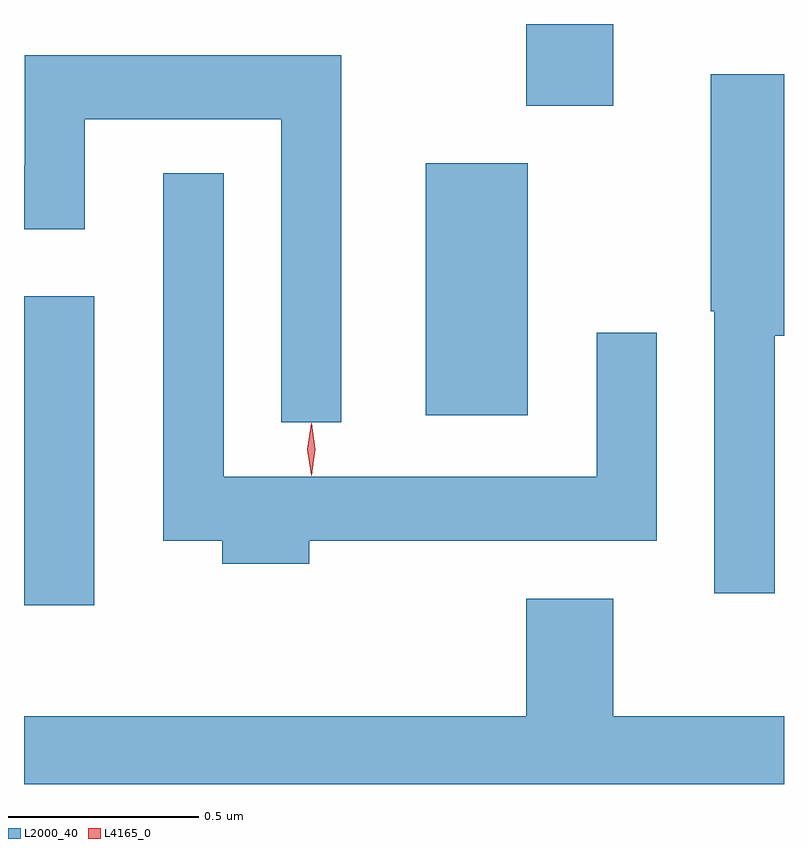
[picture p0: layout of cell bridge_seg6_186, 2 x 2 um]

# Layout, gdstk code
import gdstk
lib = gdstk.Library(unit=1e-6, precision=1e-09)
def R(c, l, rs):  # rectangles x0, y0, x1, y1
    for r in rs: c.add(gdstk.rectangle(r[:2], r[2:], *l))
def P(c, l, *ps):  # polygons
    for p in ps: c.add(gdstk.Polygon(p, *l))
L2000_40 = (2000, 40)
L4165_0 = (4165, 0)

bridge_seg6_186 = lib.new_cell('bridge_seg6_186')
R(bridge_seg6_186, L2000_40, [(1050.769,1579.456,1050.954,1580.269), (1051.826,1579.956,1052.094,1580.619), (1052.091,1580.771,1052.319,1580.986)])
P(bridge_seg6_186, L2000_40, [(1051.604,1580.904),(1050.771,1580.904),(1050.771,1580.614),(1050.769,1580.614),(1050.769,1580.446),(1050.929,1580.446),(1050.929,1580.736),(1051.446,1580.736),(1051.446,1579.938),(1051.604,1579.938)],
  [(1052.744,1580.166),(1052.769,1580.166),(1052.769,1580.854),(1052.576,1580.854),(1052.576,1580.23),(1052.586,1580.23),(1052.586,1579.488),(1052.744,1579.488)],
  [(1051.519,1579.626),(1052.434,1579.626),(1052.434,1580.173),(1052.276,1580.173),(1052.276,1579.794),(1051.294,1579.794),(1051.294,1580.593),(1051.136,1580.593),(1051.136,1579.626),(1051.291,1579.626),(1051.291,1579.566),(1051.519,1579.566)],
  [(1052.769,1579.164),(1052.319,1579.164),(1052.319,1579.474),(1052.091,1579.474),(1052.091,1579.164),(1050.769,1579.164),(1050.769,1578.986),(1052.769,1578.986)])
P(bridge_seg6_186, L4165_0, [(1051.525,1579.799),(1051.525,1579.8),(1051.515,1579.866),(1051.525,1579.932),(1051.525,1579.933),(1051.526,1579.932),(1051.535,1579.866),(1051.526,1579.8)],
  [(1051.525,1579.797),(1051.525,1579.798),(1051.515,1579.867),(1051.525,1579.936),(1051.525,1579.936),(1051.526,1579.936),(1051.535,1579.867),(1051.526,1579.798)])

lib.write_gds('bridge_seg6_186.gds')
